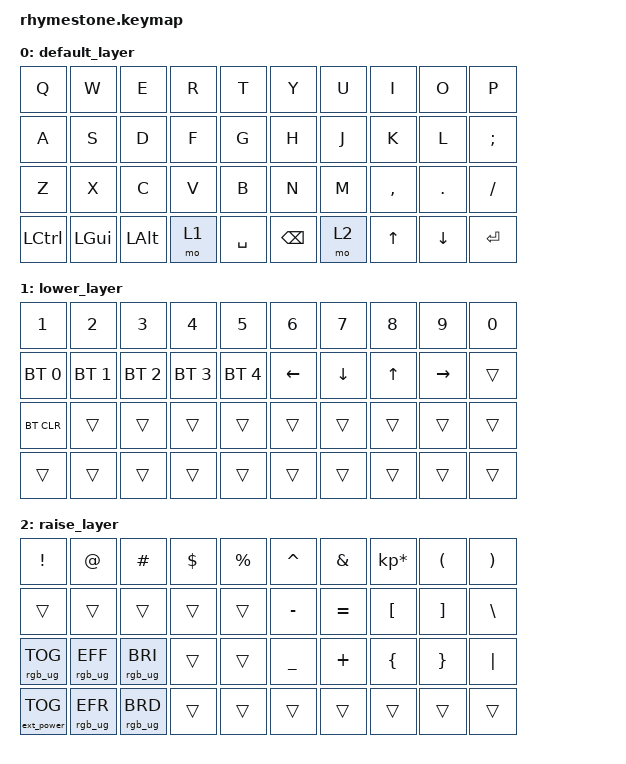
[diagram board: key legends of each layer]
/*
 * Copyright (c) 2020 The ZMK Contributors
 *
 * SPDX-License-Identifier: MIT
 */

#include <behaviors.dtsi>
#include <dt-bindings/zmk/keys.h>
#include <dt-bindings/zmk/bt.h>
#include <dt-bindings/zmk/rgb.h>
#include <dt-bindings/zmk/ext_power.h>




/ {
        keymap {
                compatible = "zmk,keymap";

                default_layer {
                        bindings = <
&kp Q     &kp W    &kp E    &kp R    &kp T     &kp Y    &kp U    &kp I     &kp O    &kp P    
&kp A     &kp S    &kp D    &kp F    &kp G     &kp H    &kp J    &kp K     &kp L    &kp SEMI 
&kp Z     &kp X    &kp C    &kp V    &kp B     &kp N    &kp M    &kp COMMA &kp DOT  &kp FSLH 
&kp LCTRL &kp LGUI &kp LALT &mo 1    &kp SPACE &kp BKSP &mo 2    &kp UP    &kp DOWN &kp RET  
                        >;
                };
                lower_layer {
                        bindings = <
&kp N1       &kp N2       &kp N3       &kp N4       &kp N5        &kp N6   &kp N7   &kp N8 &kp N9    &kp N0 
&bt BT_SEL 0 &bt BT_SEL 1 &bt BT_SEL 2 &bt BT_SEL 3 &bt BT_SEL 4  &kp LEFT &kp DOWN &kp UP &kp RIGHT &trans 
&bt BT_CLR   &trans       &trans       &trans       &trans        &trans   &trans   &trans &trans    &trans  
&trans       &trans       &trans       &trans       &trans        &trans   &trans   &trans &trans    &trans
                        >;
                };

                raise_layer {
                        bindings = <
&kp EXCL &kp AT &kp HASH &kp DLLR &kp PRCNT   &kp CARET &kp AMPS  &kp KP_MULTIPLY &kp LPAR &kp RPAR
&trans   &trans &trans   &trans   &trans      &kp MINUS &kp EQUAL &kp LBKT        &kp RBKT &kp BSLH
&rgb_ug RGB_TOG   &rgb_ug RGB_EFF &rgb_ug RGB_BRI   &trans   &trans      &kp UNDER &kp PLUS  &kp LBRC        &kp RBRC &kp PIPE
&ext_power EP_TOG &rgb_ug RGB_EFR &rgb_ug RGB_BRD   &trans   &trans      &trans    &trans    &trans          &trans   &trans
                        >;
                };
        };
};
